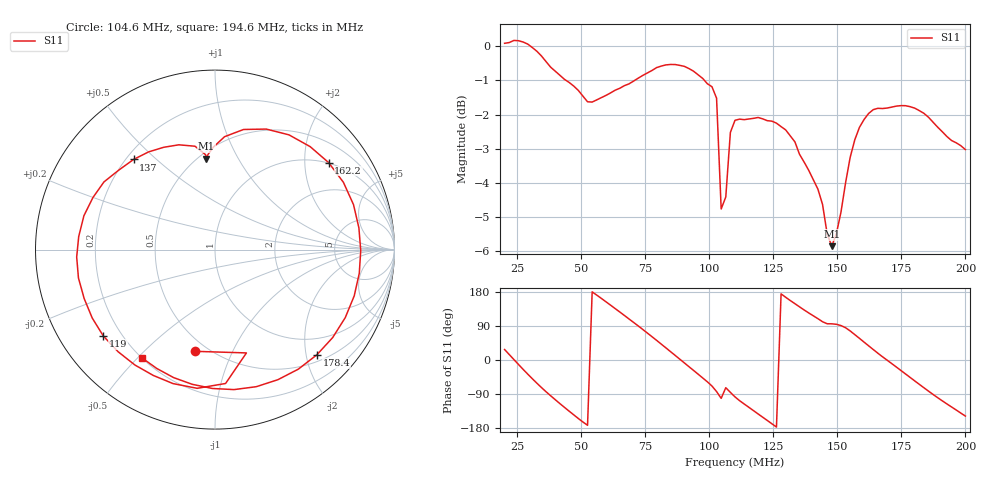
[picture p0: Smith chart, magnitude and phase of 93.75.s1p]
# HZ S RI R 50
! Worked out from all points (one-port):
!   101 points, 20 MHz to 200 MHz, reference 50 ohm
!   lowest |S11| = -5.9 dB at 147.8 MHz (marker M1), VSWR 3.08, Z = 27.3 + j37.4 ohm
!   |S11| at or under -10 dB: nowhere
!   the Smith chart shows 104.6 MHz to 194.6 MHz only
!   S11 on the Smith chart (normalised r, x): 104.6 MHz: 0.43, -0.73; 119 MHz: 0.13, -0.34; 137 MHz: 0.23, +0.42; 162.2 MHz: 0.99, +2.62; 178.4 MHz: 0.63, -2.21; 194.6 MHz: 0.20, -0.52
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2e7  0.895 0.4689
2.54e7  0.9983 -0.2055
3.26e7  0.475 -0.8613
3.8e7  -0.0725 -0.9292
4.34e7  -0.5143 -0.7319
5.42e7  -0.8287 0.0025
6.5e7  -0.518 0.6967
7.58e7  0.299 0.864
8.3e7  0.7959 0.4989
8.84e7  0.9371 0.0387
9.38e7  0.8162 -0.4237
1.01e8  0.3174 -0.8129
1.028e8  0.098 -0.8339
1.046e8  -0.1122 -0.5667
1.064e8  0.1751 -0.5756
1.1e8  -0.0994 -0.7729
1.19e8  -0.622 -0.4817
1.262e8  -0.7706 -0.041
1.334e8  -0.6186 0.3772
1.37e8  -0.4537 0.5022
1.478e8  -0.0483 0.5073
1.55e8  0.159 0.6693
1.622e8  0.6331 0.4846
1.694e8  0.812 -0.00464
1.784e8  0.5676 -0.586
1.856e8  0.1063 -0.7799
1.946e8  -0.4068 -0.6035
2e8  -0.5982 -0.3748
